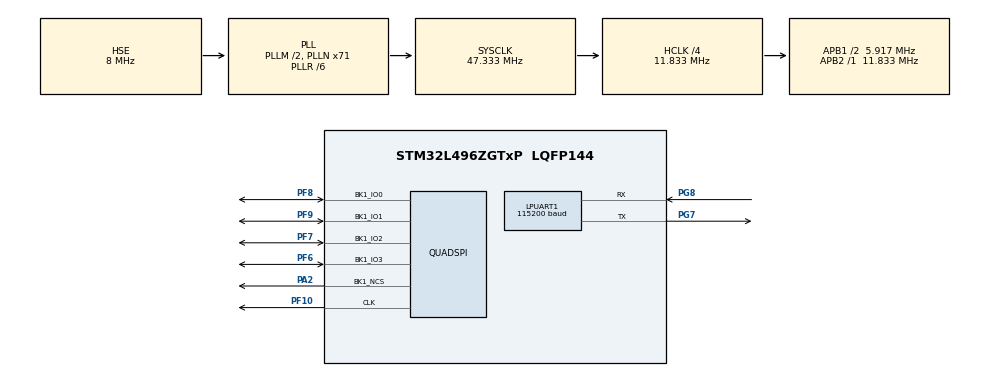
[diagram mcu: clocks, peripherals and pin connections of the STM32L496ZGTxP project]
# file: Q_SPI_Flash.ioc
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LPUART1.BaudRate=115200
LPUART1.WordLength=UART_WORDLENGTH_8B
Mcu.Family=STM32L4
Mcu.Name=STM32L496ZGTxP
Mcu.Package=LQFP144
NVIC.PriorityGroup=NVIC_PRIORITYGROUP_4
PA13\ (JTMS/SWDIO).Mode=Serial_Wire
PA13\ (JTMS/SWDIO).Signal=SYS_JTMS-SWDIO
PA14\ (JTCK/SWCLK).Mode=Serial_Wire
PA14\ (JTCK/SWCLK).Signal=SYS_JTCK-SWCLK
PA2.Mode=Single Bank 1
PA2.Signal=QUADSPI_BK1_NCS
PF10.Mode=Single Bank 1
PF10.Signal=QUADSPI_CLK
PF6.Mode=Single Bank 1
PF6.Signal=QUADSPI_BK1_IO3
PF7.Mode=Single Bank 1
PF7.Signal=QUADSPI_BK1_IO2
PF8.Mode=Single Bank 1
PF8.Signal=QUADSPI_BK1_IO0
PF9.Mode=Single Bank 1
PF9.Signal=QUADSPI_BK1_IO1
PG7.Mode=Asynchronous
PG7.Signal=LPUART1_TX
PG8.Mode=Asynchronous
PG8.Signal=LPUART1_RX
PH0-OSC_IN\ (PH0).Mode=HSE-External-Oscillator
PH0-OSC_IN\ (PH0).Signal=RCC_OSC_IN
PH1-OSC_OUT\ (PH1).Mode=HSE-External-Oscillator
PH1-OSC_OUT\ (PH1).Signal=RCC_OSC_OUT
ProjectManager.HeapSize=0x200
ProjectManager.StackSize=0x400
ProjectManager.TargetToolchain=STM32CubeIDE
QUADSPI.ChipSelectHighTime=QSPI_CS_HIGH_TIME_6_CYCLE
QUADSPI.ClockPrescaler=1
QUADSPI.FifoThreshold=4
QUADSPI.FlashSize=23
QUADSPI.SampleShifting=QSPI_SAMPLE_SHIFTING_HALFCYCLE
RCC.48MHZClocksFreq_Value=24000000
RCC.ADCFreq_Value=40000000
RCC.AHBCLKDivider=RCC_SYSCLK_DIV4
RCC.AHBFreq_Value=11833333.333333334
RCC.APB1CLKDivider=RCC_HCLK_DIV2
RCC.APB1Freq_Value=5916666.666666667
RCC.APB1TimFreq_Value=11833333.333333334
RCC.APB2Freq_Value=11833333.333333334
RCC.APB2TimFreq_Value=11833333.333333334
RCC.CortexFreq_Value=11833333.333333334
RCC.HCLKFreq_Value=11833333.333333334
RCC.HSE_VALUE=8000000
RCC.HSI48_VALUE=48000000
RCC.HSI_VALUE=16000000
RCC.LSE_VALUE=32768
RCC.MSIClockRange=RCC_MSIRANGE_9
RCC.MSI_VALUE=24000000
RCC.PLLM=2
RCC.PLLMUL=RCC_PLL_MUL9
RCC.PLLN=71
RCC.PLLR=RCC_PLLR_DIV6
RCC.PLLSAI1N=20
RCC.PLLSourceVirtual=RCC_PLLSOURCE_HSE
RCC.PRESCALERUSB=RCC_USBCLKSOURCE_PLL_DIV1_5
RCC.SYSCLKFreq_VALUE=47333333.333333336
RCC.SYSCLKSource=RCC_SYSCLKSOURCE_PLLCLK
RCC.SYSCLKSourceVirtual=RCC_SYSCLKSOURCE_PLLCLK
RCC.USBFreq_Value=40000000
RCC.VCOOutputFreq_Value=284000000
board=NUCLEO-L496ZG-P

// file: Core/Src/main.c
/* USER CODE BEGIN Header */
/**
  ******************************************************************************
  * @file           : main.c
  * @brief          : Main program body
  ******************************************************************************
  * @attention
  *
  * Copyright (c) 2023 STMicroelectronics.
  * All rights reserved.
  *
  * This software is licensed under terms that can be found in the LICENSE file
  * in the root directory of this software component.
  * If no LICENSE file comes with this software, it is provided AS-IS.
  *
  ******************************************************************************
  */
/* USER CODE END Header */
#include "main.h"

/* USER CODE BEGIN Includes */
#include "flash.h"
#include "string.h"
#include "stdio.h"
#include "MX25L_QSPI_Flash.h"
#include "FlashCircularBuffer.h"
/* USER CODE END Includes */

UART_HandleTypeDef hlpuart1;

QSPI_HandleTypeDef hqspi;

/* USER CODE BEGIN PV */
uint8_t temp_buff[3] = {0};
char *writebuff = "1234 abcde !!";
uint8_t test_buff[256];
uint8_t readbuff[300];
uint8_t PAGE_[10];
/* USER CODE END PV */

void SystemClock_Config(void);
static void MX_GPIO_Init(void);
static void MX_QUADSPI_Init(void);
static void MX_LPUART1_UART_Init(void);

int main(void)
{
  /* USER CODE BEGIN 1 */
	/* Structure for the read buffer */
	DATASET readSens;//struchchre variable
  /* USER CODE END 1 */

  /* MCU Configuration--------------------------------------------------------*/

  /* Reset of all peripherals, Initializes the Flash interface and the Systick. */
  HAL_Init();

  /* Configure the system clock */
  SystemClock_Config();

  /* Initialize all configured peripherals */
  MX_GPIO_Init();
  MX_QUADSPI_Init();
  MX_LPUART1_UART_Init();
  /* USER CODE BEGIN 2 */
  /* Initialize the Flash */
    Flash_Init();
    /* Initialize the circular buffer */
    FlashCircularBufferInit(&fcb);

    /* Structure for the write buffer */
    DATASET sensor_data = { .flow_total_ml = 1,
  		  	  	  	  	  .run_time_hours = 2,
  						  .water_meter_version = 1
    };

    for(int indx = 0; indx < 256; indx++)
    {
  	  test_buff[indx] = 'A';
    }

    waitForFlashbusy();

    /* Read Flash ID */
    BSP_QSPI_ReadID(temp_buff);
    HAL_Delay(1000);

    /* To erase whole chip un-comment the below section */
  //  Flash_Erase(QSPI_ERASE_LEN_ALL,0);
  //  waitForFlashbusy();

    /* Erase the blocks of chip*/
    Flash_Erase(QSPI_ERASE_LEN_64KB,BLOCK0_ADDR);
    Flash_Erase(QSPI_ERASE_LEN_64KB,BLOCK1_ADDR);
    Flash_Erase(QSPI_ERASE_LEN_64KB,BLOCK2_ADDR);
    Flash_Erase(QSPI_ERASE_LEN_64KB,BLOCK3_ADDR);
    Flash_Erase(QSPI_ERASE_LEN_64KB,BLOCK4_ADDR);
    Flash_Erase(QSPI_ERASE_LEN_64KB,BLOCK5_ADDR);
    Flash_Erase(QSPI_ERASE_LEN_64KB,BLOCK6_ADDR);
    Flash_Erase(QSPI_ERASE_LEN_64KB,BLOCK7_ADDR);

    /* Wait for the chip erase */
    waitForFlashbusy();

    /* Write data to the flash using the circular buffer /
     * Sector size = 4096 Bytes
     * Block size  = 65536 Bytes
     * Total blocks of 64KB = 16
     * 4096 x 16 =  65536
     * 65536 / 12 = 5461.333333333(12bytes at the time)
     * 5461.333333333 = 5500 */
    for(int index = 0; index < 5500; index++)
    {
  	  WriteDatasetToFlash(&fcb, &sensor_data, sizeof(DATASET));
  	  /* Wait till the write complete */
  	  waitForFlashbusy();
  	  HAL_Delay(1);

  	  /* Increase the dummy structure data for testing purpose */
  	  sensor_data.flow_total_ml += 1;
  	  sensor_data.run_time_hours += 1;
    }

    /* Read data form the flash using circular buffer */
    for(int index = 0; index < 5500; index++)
    {
  	  ReadDatasetFromFlash(&fcb, &readSens, sizeof(readSens));
  	  waitForFlashbusy();
  	  HAL_Delay(1);
    }

    /* Wait for some time to debug */
    HAL_Delay(3000);

    sensor_data.water_meter_version = 2;

    /* Check the data role over to the FCB */
    for(int i=0;i<5500;i++)
    {
  	  WriteDatasetToFlash(&fcb, &sensor_data, sizeof(DATASET));
  	  waitForFlashbusy();
  	  HAL_Delay(1);
  	  sensor_data.flow_total_ml += 1;
  	  sensor_data.run_time_hours += 1;
    }

    for(int i=0;i<5500;i++)
    {
  	  ReadDatasetFromFlash(&fcb, &readSens, sizeof(readSens));
  	  waitForFlashbusy();
  	  HAL_Delay(1);
    }

    /* Debug time */
    HAL_Delay(3000);

    Flash_Erase(QSPI_ERASE_LEN_64KB,BLOCK0_ADDR);
    waitForFlashbusy();

    /* Simple read/write to the flash */
    Flash_Write(test_buff, sizeof(test_buff)/sizeof(test_buff[0]), PAGE_0);
    HAL_Delay(1000);
    waitForFlashbusy();
    Flash_Read(readbuff, 300, PAGE_0);
    HAL_Delay(1000);
    waitForFlashbusy();

  /* USER CODE END 2 */

  /* Infinite loop */
  while (1)
  {

  }
}

void SystemClock_Config(void)
{
  RCC_OscInitTypeDef RCC_OscInitStruct = {0};
  RCC_ClkInitTypeDef RCC_ClkInitStruct = {0};

  /** Configure the main internal regulator output voltage
  */
  if (HAL_PWREx_ControlVoltageScaling(PWR_REGULATOR_VOLTAGE_SCALE1) != HAL_OK)
  {
    Error_Handler();
  }

  /** Initializes the RCC Oscillators according to the specified parameters
  * in the RCC_OscInitTypeDef structure.
  */
  RCC_OscInitStruct.OscillatorType = RCC_OSCILLATORTYPE_HSE;
  RCC_OscInitStruct.HSEState = RCC_HSE_ON;
  RCC_OscInitStruct.PLL.PLLState = RCC_PLL_ON;
  RCC_OscInitStruct.PLL.PLLSource = RCC_PLLSOURCE_HSE;
  RCC_OscInitStruct.PLL.PLLM = 2;
  RCC_OscInitStruct.PLL.PLLN = 71;
  RCC_OscInitStruct.PLL.PLLP = RCC_PLLP_DIV2;
  RCC_OscInitStruct.PLL.PLLQ = RCC_PLLQ_DIV2;
  RCC_OscInitStruct.PLL.PLLR = RCC_PLLR_DIV6;
  if (HAL_RCC_OscConfig(&RCC_OscInitStruct) != HAL_OK)
  {
    Error_Handler();
  }

  /** Initializes the CPU, AHB and APB buses clocks
  */
  RCC_ClkInitStruct.ClockType = RCC_CLOCKTYPE_HCLK|RCC_CLOCKTYPE_SYSCLK
                              |RCC_CLOCKTYPE_PCLK1|RCC_CLOCKTYPE_PCLK2;
  RCC_ClkInitStruct.SYSCLKSource = RCC_SYSCLKSOURCE_PLLCLK;
  RCC_ClkInitStruct.AHBCLKDivider = RCC_SYSCLK_DIV4;
  RCC_ClkInitStruct.APB1CLKDivider = RCC_HCLK_DIV2;
  RCC_ClkInitStruct.APB2CLKDivider = RCC_HCLK_DIV1;

  if (HAL_RCC_ClockConfig(&RCC_ClkInitStruct, FLASH_LATENCY_0) != HAL_OK)
  {
    Error_Handler();
  }
}

static void MX_LPUART1_UART_Init(void)
{

  hlpuart1.Instance = LPUART1;
  hlpuart1.Init.BaudRate = 115200;
  hlpuart1.Init.WordLength = UART_WORDLENGTH_8B;
  hlpuart1.Init.StopBits = UART_STOPBITS_1;
  hlpuart1.Init.Parity = UART_PARITY_NONE;
  hlpuart1.Init.Mode = UART_MODE_TX_RX;
  hlpuart1.Init.HwFlowCtl = UART_HWCONTROL_NONE;
  hlpuart1.Init.OneBitSampling = UART_ONE_BIT_SAMPLE_DISABLE;
  hlpuart1.AdvancedInit.AdvFeatureInit = UART_ADVFEATURE_NO_INIT;
  if (HAL_UART_Init(&hlpuart1) != HAL_OK)
  {
    Error_Handler();
  }

}

static void MX_QUADSPI_Init(void)
{

  /* QUADSPI parameter configuration*/
  hqspi.Instance = QUADSPI;
  hqspi.Init.ClockPrescaler = 1;
  hqspi.Init.FifoThreshold = 4;
  hqspi.Init.SampleShifting = QSPI_SAMPLE_SHIFTING_HALFCYCLE;
  hqspi.Init.FlashSize = 23;
  hqspi.Init.ChipSelectHighTime = QSPI_CS_HIGH_TIME_6_CYCLE;
  hqspi.Init.ClockMode = QSPI_CLOCK_MODE_0;
  hqspi.Init.FlashID = QSPI_FLASH_ID_1;
  hqspi.Init.DualFlash = QSPI_DUALFLASH_DISABLE;
  if (HAL_QSPI_Init(&hqspi) != HAL_OK)
  {
    Error_Handler();
  }

}

static void MX_GPIO_Init(void)
{

  /* GPIO Ports Clock Enable */
  __HAL_RCC_GPIOF_CLK_ENABLE();
  __HAL_RCC_GPIOH_CLK_ENABLE();
  __HAL_RCC_GPIOA_CLK_ENABLE();
  __HAL_RCC_GPIOG_CLK_ENABLE();
  HAL_PWREx_EnableVddIO2();

}

void Error_Handler(void)
{
  __disable_irq();
  while (1)
  {
  }
}
